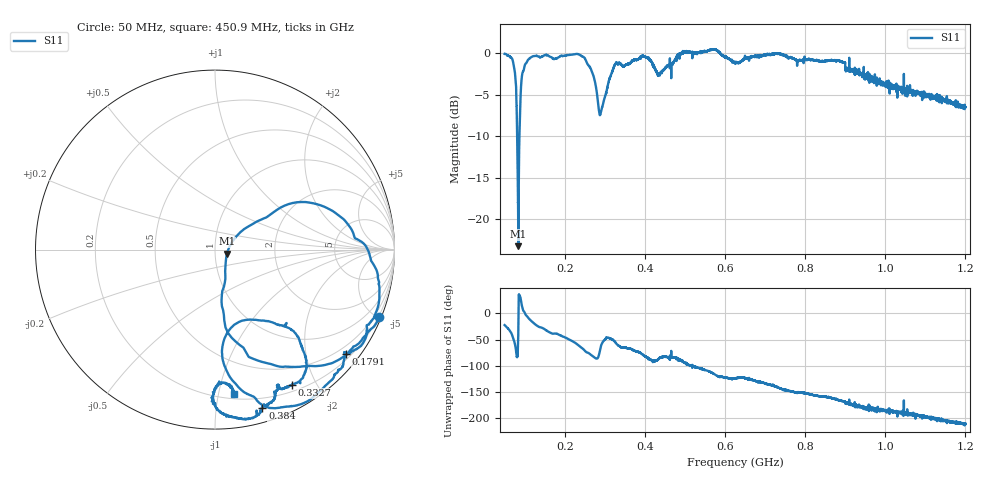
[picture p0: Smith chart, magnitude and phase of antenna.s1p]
! Calibrated high-resolution NanoVNA antenna measurement
# Hz S RI R 50
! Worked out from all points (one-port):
!   40001 points, 50 MHz to 1.2 GHz, reference 50 ohm
!   lowest |S11| = -23.2 dB at 84.39 MHz (marker M1), VSWR 1.15, Z = 56.9 - j2.65 ohm
!   |S11| at or under -10 dB: 81.31 MHz to 86.97 MHz (5.658 MHz wide, 6.72 % of centre)
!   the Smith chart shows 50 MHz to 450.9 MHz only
!   S11 on the Smith chart (normalised r, x): 50 MHz: 0.14, -5.07; 179.1 MHz: 0.31, -2.83; 332.7 MHz: 0.28, -1.68; 384 MHz: 0.11, -1.34; 450.9 MHz: 0.24, -1.11
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5e7  0.9155 -0.3758
6.47775e7  0.77 -0.5414
7.392e7  0.4914 -0.6517
7.992875e7  0.082 -0.4745
8.4385e7  0.0649 -0.0232
9.102625e7  0.5803 0.2501
9.7035e7  0.7794 0.0638
1.062062e8  0.8866 -0.0892
1.31765e8  0.8775 -0.3897
1.790588e8  0.7299 -0.5823
1.9375e8  0.6954 -0.6694
2.468512e8  0.3491 -0.8827
2.784475e8  0.0437 -0.6151
2.954675e8  0.2893 -0.3973
3.155062e8  0.4881 -0.554
3.326988e8  0.4279 -0.7545
3.375e8  0.3937 -0.7704
3.840175e8  0.2646 -0.8837
4.211338e8  -0.00809 -0.8476
4.508612e8  0.106 -0.8039
4.8125e8  0.0666 -0.9493
5.8222e8  -0.5106 -0.8931
6.25e8  -0.4805 -0.7374
6.975075e8  -0.6589 -0.7182
7.6875e8  -0.8015 -0.4784
9.125e8  -0.7899 -0.1092
1.05625e9  -0.5833 0.1081
1.2e9  -0.4072 0.2341
